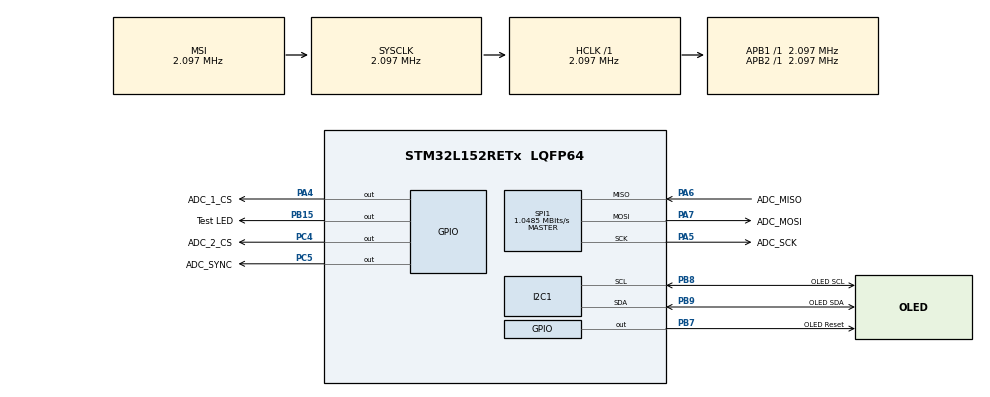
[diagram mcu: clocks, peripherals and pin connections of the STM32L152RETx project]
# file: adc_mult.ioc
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Mcu.Family=STM32L1
Mcu.Name=STM32L152RETx
Mcu.Package=LQFP64
NVIC.PriorityGroup=NVIC_PRIORITYGROUP_4
PA4.GPIO_Label=ADC_1_CS
PA4.GPIO_PuPd=GPIO_PULLUP
PA4.GPIO_Speed=GPIO_SPEED_FREQ_VERY_HIGH
PA4.PinState=GPIO_PIN_SET
PA4.Signal=GPIO_Output
PA5.GPIO_Label=ADC_SCK
PA5.GPIO_PuPd=GPIO_PULLUP
PA5.Mode=Full_Duplex_Master
PA5.Signal=SPI1_SCK
PA6.GPIO_Label=ADC_MISO
PA6.GPIO_PuPd=GPIO_PULLUP
PA6.Mode=Full_Duplex_Master
PA6.Signal=SPI1_MISO
PA7.GPIO_Label=ADC_MOSI
PA7.GPIO_PuPd=GPIO_PULLUP
PA7.Mode=Full_Duplex_Master
PA7.Signal=SPI1_MOSI
PB15.GPIO_Label=Test LED
PB15.PinState=GPIO_PIN_SET
PB15.Signal=GPIO_Output
PB7.GPIO_Label=OLED Reset
PB7.PinState=GPIO_PIN_SET
PB7.Signal=GPIO_Output
PB8.GPIO_Label=OLED SCL
PB8.Mode=I2C
PB8.Signal=I2C1_SCL
PB9.GPIO_Label=OLED SDA
PB9.Mode=I2C
PB9.Signal=I2C1_SDA
PC4.GPIO_Label=ADC_2_CS
PC4.GPIO_PuPd=GPIO_PULLUP
PC4.GPIO_Speed=GPIO_SPEED_FREQ_VERY_HIGH
PC4.PinState=GPIO_PIN_SET
PC4.Signal=GPIO_Output
PC5.GPIO_Label=ADC_SYNC
PC5.GPIO_PuPd=GPIO_PULLUP
PC5.GPIO_Speed=GPIO_SPEED_FREQ_VERY_HIGH
PC5.PinState=GPIO_PIN_SET
PC5.Signal=GPIO_Output
ProjectManager.HeapSize=0x200
ProjectManager.StackSize=0x400
ProjectManager.TargetToolchain=TrueSTUDIO
RCC.AHBFreq_Value=2097000
RCC.APB1Freq_Value=2097000
RCC.APB2Freq_Value=2097000
RCC.HSE_VALUE=24000000
RCC.HSI_VALUE=16000000
RCC.LSE_VALUE=32768
RCC.MSI_VALUE=2097000
RCC.SYSCLKFreq_VALUE=2097000
RCC.VCOOutputFreq_Value=48000000
SPI1.BaudRatePrescaler=SPI_BAUDRATEPRESCALER_2
SPI1.CLKPhase=SPI_PHASE_2EDGE
SPI1.CLKPolarity=SPI_POLARITY_HIGH
SPI1.CalculateBaudRate=1.0485 MBits/s
SPI1.Direction=SPI_DIRECTION_2LINES
SPI1.Mode=SPI_MODE_MASTER
SPI1.VirtualType=VM_MASTER
board=adc_mult

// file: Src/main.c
/**
  ******************************************************************************
  * File Name          : main.c
  * Description        : Main program body
  ******************************************************************************
  ** This notice applies to any and all portions of this file
  * that are not between comment pairs USER CODE BEGIN and
  * USER CODE END. Other portions of this file, whether
  * inserted by the user or by software development tools
  * are owned by their respective copyright owners.
  *
  * COPYRIGHT(c) 2018 STMicroelectronics
  *
  * Redistribution and use in source and binary forms, with or without modification,
  * are permitted provided that the following conditions are met:
  *   1. Redistributions of source code must retain the above copyright notice,
  *      this list of conditions and the following disclaimer.
  *   2. Redistributions in binary form must reproduce the above copyright notice,
  *      this list of conditions and the following disclaimer in the documentation
  *      and/or other materials provided with the distribution.
  *   3. Neither the name of STMicroelectronics nor the names of its contributors
  *      may be used to endorse or promote products derived from this software
  *      without specific prior written permission.
  *
  * THIS SOFTWARE IS PROVIDED BY THE COPYRIGHT HOLDERS AND CONTRIBUTORS "AS IS"
  * AND ANY EXPRESS OR IMPLIED WARRANTIES, INCLUDING, BUT NOT LIMITED TO, THE
  * IMPLIED WARRANTIES OF MERCHANTABILITY AND FITNESS FOR A PARTICULAR PURPOSE ARE
  * DISCLAIMED. IN NO EVENT SHALL THE COPYRIGHT HOLDER OR CONTRIBUTORS BE LIABLE
  * FOR ANY DIRECT, INDIRECT, INCIDENTAL, SPECIAL, EXEMPLARY, OR CONSEQUENTIAL
  * DAMAGES (INCLUDING, BUT NOT LIMITED TO, PROCUREMENT OF SUBSTITUTE GOODS OR
  * SERVICES; LOSS OF USE, DATA, OR PROFITS; OR BUSINESS INTERRUPTION) HOWEVER
  * CAUSED AND ON ANY THEORY OF LIABILITY, WHETHER IN CONTRACT, STRICT LIABILITY,
  * OR TORT (INCLUDING NEGLIGENCE OR OTHERWISE) ARISING IN ANY WAY OUT OF THE USE
  * OF THIS SOFTWARE, EVEN IF ADVISED OF THE POSSIBILITY OF SUCH DAMAGE.
  *
  ******************************************************************************
  */

#include "main.h"
#include "stm32l1xx_hal.h"

/* USER CODE BEGIN Includes */
#include "ssd1306.h"
#include "AD7190.h"
#include <math.h>
/* USER CODE END Includes */

I2C_HandleTypeDef hi2c1;

SPI_HandleTypeDef hspi1;

/* USER CODE BEGIN PV */
/* Private variables ---------------------------------------------------------*/

/* USER CODE END PV */

void SystemClock_Config(void);
static void MX_GPIO_Init(void);
static void MX_I2C1_Init(void);
static void MX_SPI1_Init(void);

/* USER CODE BEGIN PFP */
/* Private function prototypes -----------------------------------------------*/
unsigned char adcInit(uint8_t chip);
void adcChipSelect(uint8_t chip);
void adcChipDeselect(uint8_t chip);
void floatToString(float value, char* floatString, int afterpoint);
void adcRangeSetup(unsigned char polarity, unsigned char range, uint8_t chip);
void adcChannelSelect(unsigned short channel, uint8_t chip);
unsigned long adcSingleConversion(uint8_t chip);
/* USER CODE END PFP */

int main(void)
{

  /* USER CODE BEGIN 1 */
  unsigned long buffer;
  float voltage;
  char voltString[20];
  char display[30];
  /* USER CODE END 1 */

  /* MCU Configuration----------------------------------------------------------*/

  /* Reset of all peripherals, Initializes the Flash interface and the Systick. */
  HAL_Init();

  /* Configure the system clock */
  SystemClock_Config();

  /* Initialize all configured peripherals */
  MX_GPIO_Init();
  MX_I2C1_Init();
  MX_SPI1_Init();

  /* USER CODE BEGIN 2 */
  ssd1306Init();
  clearScreen();

  //HAL_GPIO_WritePin(ADC_1_CS_GPIO_Port, ADC_1_CS_Pin, GPIO_PIN_RESET);
  //adcChipSelect(1);
  if(adcInit(1) && adcInit(2))
  {
	  ssd1306_WriteString("Parts Present", 1);
	  updateScreen();
  }
  else
  {
	  ssd1306_WriteString("Part(s) Not Present", 1);
	  updateScreen();
  }
  //adcChipDeselect(1);
  //adcChipSelect(1);
  adcRangeSetup(1, AD7190_CONF_GAIN_1, 1);
  adcRangeSetup(1, AD7190_CONF_GAIN_1, 2);
  //AD7190_RangeSetup(1, AD7190_CONF_GAIN_1);
  //adcChipDeselect(1);
  /* USER CODE END 2 */

  /* Infinite loop */
  /* USER CODE BEGIN 3 */
  while (1)
  {
	  // Read Channel 1
	  //adcChipSelect(1);
	  adcChannelSelect(AD7190_CH_AIN1P_AIN2M, 1);
	  //AD7190_ChannelSelect(AD7190_CH_AIN1P_AIN2M);
	  //adcChipDeselect(1);
	  //adcChipSelect(1);
	  buffer = adcSingleConversion(1);
	  //buffer = AD7190_SingleConversion();
	  //adcChipDeselect(1);
	  voltage = ((float)buffer / 16777216ul) * 5;
	  floatToString(voltage, voltString, 2);
	  sprintf(display,"%s V", voltString);
	  clearScreen();
	  ssd1306_WriteString(display, 1);
	  updateScreen();

	  // Read Channel 2
	  //adcChipSelect(1);
	  adcChannelSelect(AD7190_CH_AIN3P_AIN4M, 1);
	  buffer = adcSingleConversion(1);
	  //AD7190_ChannelSelect(AD7190_CH_AIN3P_AIN4M);
	  //adcChipDeselect(1);
	  //adcChipSelect(1);
	  //buffer = AD7190_SingleConversion();
	  //adcChipDeselect(1);
	  voltage = ((float)buffer / 16777216ul) * 5;
	  floatToString(voltage, voltString, 2);
	  sprintf(display,"%s V", voltString);
	  setCursorX(0);
	  setCursorY(11);
	  ssd1306_WriteString(display, 1);
	  updateScreen();
	  HAL_Delay(500);
  }
  /* USER CODE END 3 */

}

/** System Clock Configuration
*/
void SystemClock_Config(void)
{

  RCC_OscInitTypeDef RCC_OscInitStruct;
  RCC_ClkInitTypeDef RCC_ClkInitStruct;

    /**Configure the main internal regulator output voltage
    */
  __HAL_PWR_VOLTAGESCALING_CONFIG(PWR_REGULATOR_VOLTAGE_SCALE1);

    /**Initializes the CPU, AHB and APB busses clocks
    */
  RCC_OscInitStruct.OscillatorType = RCC_OSCILLATORTYPE_MSI;
  RCC_OscInitStruct.MSIState = RCC_MSI_ON;
  RCC_OscInitStruct.MSICalibrationValue = 0;
  RCC_OscInitStruct.MSIClockRange = RCC_MSIRANGE_5;
  RCC_OscInitStruct.PLL.PLLState = RCC_PLL_NONE;
  if (HAL_RCC_OscConfig(&RCC_OscInitStruct) != HAL_OK)
  {
    _Error_Handler(__FILE__, __LINE__);
  }

    /**Initializes the CPU, AHB and APB busses clocks
    */
  RCC_ClkInitStruct.ClockType = RCC_CLOCKTYPE_HCLK|RCC_CLOCKTYPE_SYSCLK
                              |RCC_CLOCKTYPE_PCLK1|RCC_CLOCKTYPE_PCLK2;
  RCC_ClkInitStruct.SYSCLKSource = RCC_SYSCLKSOURCE_MSI;
  RCC_ClkInitStruct.AHBCLKDivider = RCC_SYSCLK_DIV1;
  RCC_ClkInitStruct.APB1CLKDivider = RCC_HCLK_DIV1;
  RCC_ClkInitStruct.APB2CLKDivider = RCC_HCLK_DIV1;

  if (HAL_RCC_ClockConfig(&RCC_ClkInitStruct, FLASH_LATENCY_0) != HAL_OK)
  {
    _Error_Handler(__FILE__, __LINE__);
  }

    /**Configure the Systick interrupt time
    */
  HAL_SYSTICK_Config(HAL_RCC_GetHCLKFreq()/1000);

    /**Configure the Systick
    */
  HAL_SYSTICK_CLKSourceConfig(SYSTICK_CLKSOURCE_HCLK);

  /* SysTick_IRQn interrupt configuration */
  HAL_NVIC_SetPriority(SysTick_IRQn, 0, 0);
}

/* I2C1 init function */
static void MX_I2C1_Init(void)
{

  hi2c1.Instance = I2C1;
  hi2c1.Init.ClockSpeed = 100000;
  hi2c1.Init.DutyCycle = I2C_DUTYCYCLE_2;
  hi2c1.Init.OwnAddress1 = 0;
  hi2c1.Init.AddressingMode = I2C_ADDRESSINGMODE_7BIT;
  hi2c1.Init.DualAddressMode = I2C_DUALADDRESS_DISABLE;
  hi2c1.Init.OwnAddress2 = 0;
  hi2c1.Init.GeneralCallMode = I2C_GENERALCALL_DISABLE;
  hi2c1.Init.NoStretchMode = I2C_NOSTRETCH_DISABLE;
  if (HAL_I2C_Init(&hi2c1) != HAL_OK)
  {
    _Error_Handler(__FILE__, __LINE__);
  }

}

/* SPI1 init function */
static void MX_SPI1_Init(void)
{

  /* SPI1 parameter configuration*/
  hspi1.Instance = SPI1;
  hspi1.Init.Mode = SPI_MODE_MASTER;
  hspi1.Init.Direction = SPI_DIRECTION_2LINES;
  hspi1.Init.DataSize = SPI_DATASIZE_8BIT;
  hspi1.Init.CLKPolarity = SPI_POLARITY_HIGH;
  hspi1.Init.CLKPhase = SPI_PHASE_2EDGE;
  hspi1.Init.NSS = SPI_NSS_SOFT;
  hspi1.Init.BaudRatePrescaler = SPI_BAUDRATEPRESCALER_2;
  hspi1.Init.FirstBit = SPI_FIRSTBIT_MSB;
  hspi1.Init.TIMode = SPI_TIMODE_DISABLE;
  hspi1.Init.CRCCalculation = SPI_CRCCALCULATION_DISABLE;
  hspi1.Init.CRCPolynomial = 10;
  if (HAL_SPI_Init(&hspi1) != HAL_OK)
  {
    _Error_Handler(__FILE__, __LINE__);
  }

}

/** Configure pins as
        * Analog
        * Input
        * Output
        * EVENT_OUT
        * EXTI
*/
static void MX_GPIO_Init(void)
{

  GPIO_InitTypeDef GPIO_InitStruct;

  /* GPIO Ports Clock Enable */
  __HAL_RCC_GPIOA_CLK_ENABLE();
  __HAL_RCC_GPIOC_CLK_ENABLE();
  __HAL_RCC_GPIOB_CLK_ENABLE();

  /*Configure GPIO pin Output Level */
  HAL_GPIO_WritePin(ADC_1_CS_GPIO_Port, ADC_1_CS_Pin, GPIO_PIN_SET);

  /*Configure GPIO pin Output Level */
  HAL_GPIO_WritePin(GPIOC, ADC_2_CS_Pin|ADC_SYNC_Pin, GPIO_PIN_SET);

  /*Configure GPIO pin Output Level */
  HAL_GPIO_WritePin(GPIOB, Test_LED_Pin|OLED_Reset_Pin, GPIO_PIN_SET);

  /*Configure GPIO pin : ADC_1_CS_Pin */
  GPIO_InitStruct.Pin = ADC_1_CS_Pin;
  GPIO_InitStruct.Mode = GPIO_MODE_OUTPUT_PP;
  GPIO_InitStruct.Pull = GPIO_PULLUP;
  GPIO_InitStruct.Speed = GPIO_SPEED_FREQ_VERY_HIGH;
  HAL_GPIO_Init(ADC_1_CS_GPIO_Port, &GPIO_InitStruct);

  /*Configure GPIO pins : ADC_2_CS_Pin ADC_SYNC_Pin */
  GPIO_InitStruct.Pin = ADC_2_CS_Pin|ADC_SYNC_Pin;
  GPIO_InitStruct.Mode = GPIO_MODE_OUTPUT_PP;
  GPIO_InitStruct.Pull = GPIO_PULLUP;
  GPIO_InitStruct.Speed = GPIO_SPEED_FREQ_VERY_HIGH;
  HAL_GPIO_Init(GPIOC, &GPIO_InitStruct);

  /*Configure GPIO pins : Test_LED_Pin OLED_Reset_Pin */
  GPIO_InitStruct.Pin = Test_LED_Pin|OLED_Reset_Pin;
  GPIO_InitStruct.Mode = GPIO_MODE_OUTPUT_PP;
  GPIO_InitStruct.Pull = GPIO_NOPULL;
  GPIO_InitStruct.Speed = GPIO_SPEED_FREQ_LOW;
  HAL_GPIO_Init(GPIOB, &GPIO_InitStruct);

}

/* USER CODE BEGIN 4 */
unsigned char adcInit(uint8_t chip)
{
	unsigned char result;
	adcChipSelect(chip);
	result = AD7190_Init();
	adcChipDeselect(chip);
	return result;
}

void adcRangeSetup(unsigned char polarity, unsigned char range, uint8_t chip)
{
	adcChipSelect(chip);
	AD7190_RangeSetup(polarity, range);
	adcChipDeselect(chip);
}

void adcChannelSelect(unsigned short channel, uint8_t chip)
{
	adcChipSelect(chip);
	AD7190_ChannelSelect(channel);
	adcChipDeselect(chip);
}

unsigned long adcSingleConversion(uint8_t chip)
{
	unsigned long buffer;
	adcChipSelect(chip);
	buffer = AD7190_SingleConversion();
	adcChipDeselect(chip);
	return buffer;
}

void adcChipSelect(uint8_t chip)
{
	switch(chip)
	{
	case 1:
		HAL_GPIO_WritePin(GPIOA, GPIO_PIN_4, GPIO_PIN_RESET);
		break;
	case 2:
		HAL_GPIO_WritePin(GPIOC, GPIO_PIN_4, GPIO_PIN_RESET);
		break;
	}
}

void adcChipDeselect(uint8_t chip)
{
	switch(chip)
	{
	case 1:
		HAL_GPIO_WritePin(GPIOA, GPIO_PIN_4, GPIO_PIN_SET);
		break;
	case 2:
		HAL_GPIO_WritePin(GPIOC, GPIO_PIN_4, GPIO_PIN_SET);
		break;
	}
}

void floatToString(float value, char* floatString, int afterpoint)
{
	uint32_t intValue = value;
	float tmpFrac = value - intValue;
	uint32_t intFrac = trunc(tmpFrac * pow(10, afterpoint));

	sprintf(floatString, "%lu.%lu", intValue, intFrac);
}
/* USER CODE END 4 */

void _Error_Handler(char * file, int line)
{
  while(1)
  {
  }
}

/************************ (C) COPYRIGHT STMicroelectronics *****END OF FILE****/
